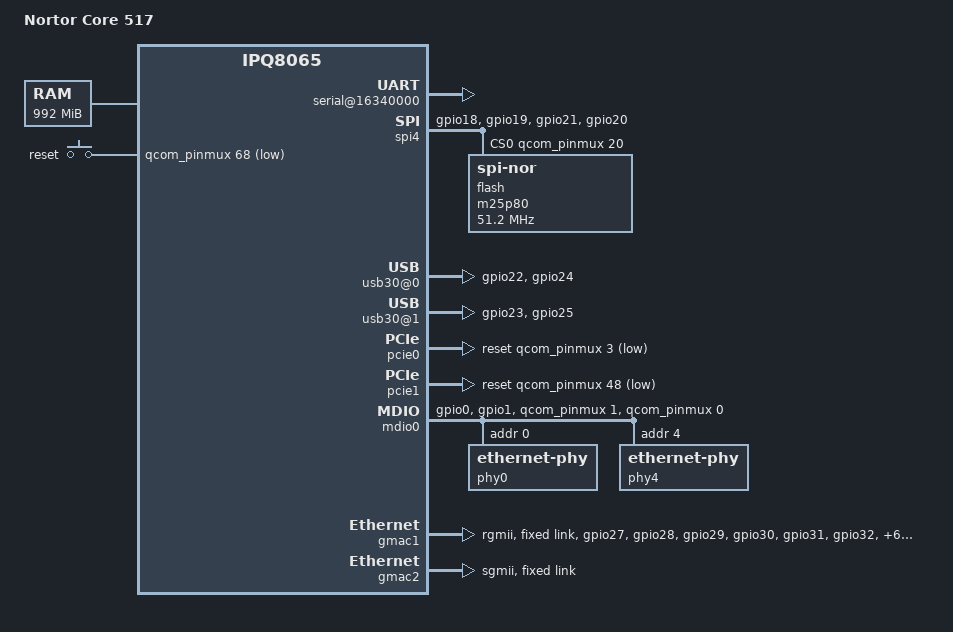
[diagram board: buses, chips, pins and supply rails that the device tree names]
#include "qcom-ipq8065.dtsi"

#include <dt-bindings/input/input.h>

/ {
	model = "Nortor Core 517";
	compatible = "norton,core-517", "qcom,ipq8065";

	memory@0 {
		reg = <0x42000000 0x3e000000>;
		device_type = "memory";
	};

	reserved-memory {
		#address-cells = <1>;
		#size-cells = <1>;
		ranges;
		rsvd@41200000 {
			reg = <0x41200000 0x300000>;
			no-map;
		};
	};

	aliases {
		serial0 = &gsbi4_serial;
		mdio-gpio0 = &mdio0;
		sdcc1 = &sdcc1;
	};

	chosen {
		bootargs = "rootfstype=squashfs,ext4 rootwait noinitrd";
		stdout-path = "serial0:115200n8";
		append-rootblock = "root=/dev/mmcblk0p";
	};

	soc {
		pinmux@800000 {
			button_pins: button_pins {
				mux {
					pins = "gpio68";
					function = "gpio";
					drive-strength = <2>;
					bias-pull-up;
				};
			};

			hs_uart_pins: hs_uart_pins {
				mux {
					pins = "gpio6", "gpio7", "gpio8", "gpio9";
					function = "gsbi7";
					drive-strength = <0xc>;
					bias-disable;
				};
			};

			serial_pins: serial_pins {
				mux {
					pins = "gpio55", "gpio56";
					function = "gsbi6";
					drive-strength = <0xc>;
					bias-disable;
				};
			};

			i2c_pins: i2c_pins {
				mux {
					pins = "gpio57", "gpio58";
					function = "gsbi6";
					drive-strength = <0xc>;
					bias-disable;
				};
			};

			sdcc1_pins: sdcc1_pinmux {
				mux {
					pins = "gpio38", "gpio39", "gpio40",
					"gpio41", "gpio42", "gpio43",
					"gpio44", "gpio45", "gpio46",
					"gpio47";
					function = "sdc1";
				};
				cmd {
					pins = "gpio45";
					drive-strength = <10>;
					bias-pull-up;
				};
				data {
					pins = "gpio38", "gpio39", "gpio40",
					"gpio41", "gpio43", "gpio44",
					"gpio46", "gpio47";
					drive-strength = <10>;
					bias-pull-up;
				};
				clk {
					pins = "gpio42";
					drive-strength = <16>;
					bias-disable;
				};
			};

			mdio0_pins: mdio0_pins {
				mux {
					pins = "gpio0", "gpio1";
					function = "gpio";
					drive-strength = <8>;
					bias-disable;
				};

				clk {
					pins = "gpio1";
					input-disable;
				};
			};

			rgmii2_pins: rgmii2_pins {
				mux {
					pins = "gpio27", "gpio28", "gpio29", "gpio30", "gpio31", "gpio32",
					       "gpio51", "gpio52", "gpio59", "gpio60", "gpio61", "gpio62" ;
					function = "rgmii2";
					drive-strength = <8>;
					bias-disable;
				};

				tx {
					pins = "gpio27", "gpio28", "gpio29", "gpio30", "gpio31", "gpio32" ;
					input-disable;
				};
			};

			spi_pins: spi_pins {
				mux {
					pins = "gpio18", "gpio19", "gpio21";
					function = "gsbi5";
					drive-strength = <10>;
					bias-none;
				};

				cs {
					pins = "gpio20";
					drive-strength = <12>;
				};
			};

			usb0_pwr_en_pins: usb0_pwr_en_pins {
				mux {
					pins = "gpio22", "gpio24";
					function = "gpio";
					drive-strength = <12>;
				};

				pwr {
					pins = "gpio22";
					bias-pull-down;
					output-high;
				};

				ovc {
					pins = "gpio24";
					bias-pull-up;
				};
			};

			usb1_pwr_en_pins: usb1_pwr_en_pins {
				mux {
					pins = "gpio23", "gpio25";
					function = "gpio";
					drive-strength = <12>;
				};

				pwr {
					pins = "gpio23";
					bias-pull-down;
					output-high;
				};

				ovc {
					pins = "gpio25";
					bias-pull-up;
				};
			};
		};

		gsbi@16300000 {
			qcom,mode = <GSBI_PROT_I2C_UART>;
			status = "ok";
			serial@16340000 {
				status = "ok";
			};
			/*
			 * The i2c device on gsbi4 should not be enabled.
			 * On ipq806x designs gsbi4 i2c is meant for exclusive
			 * RPM usage. Turning this on in kernel manifests as
			 * i2c failure for the RPM.
			 */
		};

		gsbi5: gsbi@1a200000 {
			qcom,mode = <GSBI_PROT_SPI>;
			status = "ok";

			spi4: spi@1a280000 {
				status = "ok";

				pinctrl-0 = <&spi_pins>;
				pinctrl-names = "default";

				cs-gpios = <&qcom_pinmux 20 GPIO_ACTIVE_HIGH>;

				flash: m25p80@0 {
					compatible = "jedec,spi-nor";
					#address-cells = <1>;
					#size-cells = <1>;
					spi-max-frequency = <51200000>;
					reg = <0>;

					partitions {
						compatible = "qcom,smem";
					};
				};
			};
		};

		phy@100f8800 {		/* USB3 port 1 HS phy */
			status = "ok";
		};

		phy@100f8830 {		/* USB3 port 1 SS phy */
			status = "ok";
		};

		phy@110f8800 {		/* USB3 port 0 HS phy */
			status = "ok";
		};

		phy@110f8830 {		/* USB3 port 0 SS phy */
			status = "ok";
		};

		usb30@0 {
			status = "ok";

			pinctrl-0 = <&usb0_pwr_en_pins>;
			pinctrl-names = "default";
		};

		usb30@1 {
			status = "ok";

			pinctrl-0 = <&usb1_pwr_en_pins>;
			pinctrl-names = "default";
		};

		pcie0: pci@1b500000 {
			status = "ok";
			reset-gpio = <&qcom_pinmux 3 GPIO_ACTIVE_LOW>;
			pinctrl-0 = <&pcie0_pins>;
			pinctrl-names = "default";
		};

		pcie1: pci@1b700000 {
			status = "ok";
			reset-gpio = <&qcom_pinmux 48 GPIO_ACTIVE_LOW>;
			pinctrl-0 = <&pcie1_pins>;
			pinctrl-names = "default";
			force_gen1 = <1>;
		};

		mdio0: mdio {
			compatible = "virtual,mdio-gpio";
			#address-cells = <1>;
			#size-cells = <0>;
			gpios = <&qcom_pinmux 1 GPIO_ACTIVE_HIGH &qcom_pinmux 0 GPIO_ACTIVE_HIGH>;
			pinctrl-0 = <&mdio0_pins>;
			pinctrl-names = "default";

			phy0: ethernet-phy@0 {
				device_type = "ethernet-phy";
				reg = <0>;
				qca,ar8327-initvals = <
					0x00004 0x7600000   /* PAD0_MODE */
					0x00008 0x1000000   /* PAD5_MODE */
					0x0000c 0x80        /* PAD6_MODE */
					0x000e4 0xaa545     /* MAC_POWER_SEL */
					0x000e0 0xc74164de  /* SGMII_CTRL */
					0x0007c 0x4e        /* PORT0_STATUS */
					0x00094 0x4e        /* PORT6_STATUS */
					0x00970 0x1e864443  /* QM_PORT0_CTRL0 */
					0x00974 0x000001c6  /* QM_PORT0_CTRL1 */
					0x00978 0x19008643  /* QM_PORT1_CTRL0 */
					0x0097c 0x000001c6  /* QM_PORT1_CTRL1 */
					0x00980 0x19008643  /* QM_PORT2_CTRL0 */
					0x00984 0x000001c6  /* QM_PORT2_CTRL1 */
					0x00988 0x19008643  /* QM_PORT3_CTRL0 */
					0x0098c 0x000001c6  /* QM_PORT3_CTRL1 */
					0x00990 0x19008643  /* QM_PORT4_CTRL0 */
					0x00994 0x000001c6  /* QM_PORT4_CTRL1 */
					0x00998 0x1e864443  /* QM_PORT5_CTRL0 */
					0x0099c 0x000001c6  /* QM_PORT5_CTRL1 */
					0x009a0 0x1e864443  /* QM_PORT6_CTRL0 */
					0x009a4 0x000001c6  /* QM_PORT6_CTRL1 */
					>;
			};

			phy4: ethernet-phy@4 {
				device_type = "ethernet-phy";
				reg = <4>;
				qca,ar8327-initvals = <
					0x000e4 0x6a545     /* MAC_POWER_SEL */
					0x0000c 0x80        /* PAD6_MODE */
					>;
			};
		};

		gmac1: ethernet@37200000 {
			status = "ok";
			phy-mode = "rgmii";
			qcom,id = <1>;
			qcom,phy_mdio_addr = <4>;
			qcom,poll_required = <0>;
			qcom,rgmii_delay = <1>;
			qcom,phy_mii_type = <0>;
			qcom,emulation = <0>;
			qcom,irq = <255>;
			mdiobus = <&mdio0>;
			local-mac-address = [000000000000];

			pinctrl-0 = <&rgmii2_pins>;
			pinctrl-names = "default";

			fixed-link {
				speed = <1000>;
				full-duplex;
			};
		};

		gmac2: ethernet@37400000 {
			status = "ok";
			phy-mode = "sgmii";
			qcom,id = <2>;
			qcom,phy_mdio_addr = <0>;	/* none */
			qcom,poll_required = <0>;	/* no polling */
			qcom,rgmii_delay = <0>;
			qcom,phy_mii_type = <1>;
			qcom,emulation = <0>;
			qcom,irq = <258>;
			mdiobus = <&mdio0>;
			local-mac-address = [000000000000];

			fixed-link {
				speed = <1000>;
				full-duplex;
			};
		};

		amba {
			sdcc1: sdcc@12400000 {
				status = "okay";

			        pinctrl-0 = <&sdcc1_pins>;
			        pinctrl-names = "default";
			};
		};
	};

	gpio-keys {
		compatible = "gpio-keys";
		pinctrl-0 = <&button_pins>;
		pinctrl-names = "default";

		reset {
			label = "reset";
			gpios = <&qcom_pinmux 68 GPIO_ACTIVE_LOW>;
			linux,code = <KEY_RESTART>;
		};
	};
};

&adm_dma {
	status = "ok";
};
